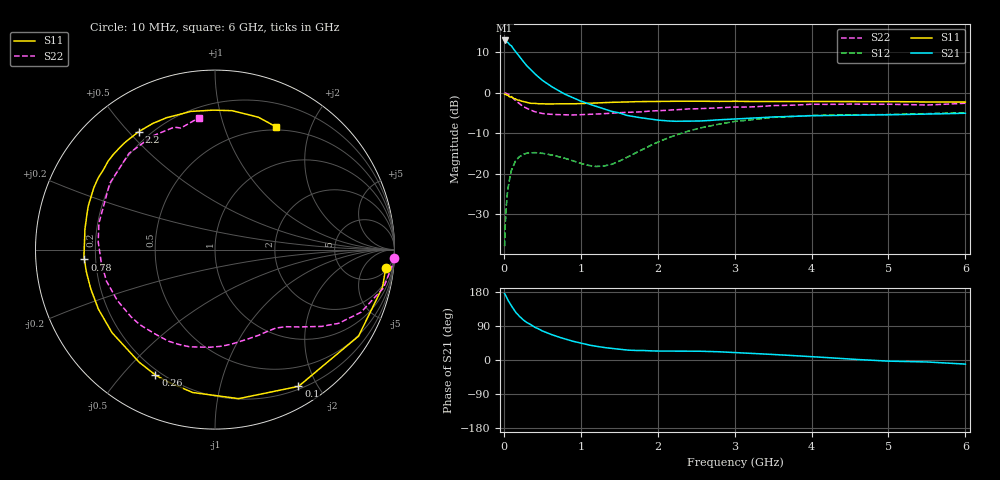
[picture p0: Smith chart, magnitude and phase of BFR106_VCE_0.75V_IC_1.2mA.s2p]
! Infineon Technologies  Discrete & RF Semiconductors
! BFR106
! VCE = 0.75 V,  IC =  1.2 mA
! Common Emitter S-Parameters:  Nov 2015
# GHz  S  MA  R  50
!  f  S11  S21  S12  S22
! GHz  MAG  ANG  MAG  ANG  MAG  ANG  MAG  ANG
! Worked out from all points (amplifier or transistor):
!   210 points, 10 MHz to 6 GHz, reference 50 ohm
!   highest |S21| = 12.9 dB at 10 MHz (marker M1)
!   |S21| within 3 dB of that: start of sweep to 163.5 MHz
!   unconditionally stable (mu >= 1): 815.5 MHz to end of sweep
!   at 185 MHz: K = 0.24, MSG = 12.7 dB, |S12| = -16.2 dB
!   at 1.52 GHz: K = 1.45, MAG = 1.8 dB, |S12| = -16.7 dB
!   at 6 GHz: K = 1.02, MAG = -1.0 dB, |S12| = -5.0 dB
!   S11 on the Smith chart (normalised r, x): 10 MHz: 6, -16; 100 MHz: 0.23, -1.76; 260 MHz: 0.18, -0.62; 780 MHz: 0.16, -0.04; 2.2 GHz: 0.16, +0.53; 6 GHz: 0.46, +1.52
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0.01  0.9566 -6.3  4.392 175.2  0.0128 87.6  0.9981 -2.6
0.02  0.9565 -12.6  4.358 171.8  0.0255 85.4  0.9904 -5.3
0.04  0.9305 -24.9  4.208 163.4  0.0497 73.9  0.9702 -10.3
0.05  0.9339 -31.1  4.169 159.0  0.0621 71.6  0.9629 -12.8
0.1  0.8928 -58.6  3.753 142.1  0.1111 57.0  0.8857 -23.2
0.15  0.8407 -81.0  3.23 126.7  0.1427 44.4  0.8017 -30.8
0.2  0.8058 -98.9  2.822 115.7  0.1618 35.9  0.7332 -35.7
0.26  0.7735 -115.4  2.376 104.7  0.1742 27.7  0.6661 -40.2
0.3  0.7567 -123.9  2.133 98.8  0.1795 24.0  0.6377 -42.5
0.4  0.7372 -141.1  1.713 86.7  0.1822 16.4  0.5825 -47.5
0.5  0.7294 -153.0  1.419 76.7  0.1788 11.7  0.5529 -52.3
0.6  0.726 -162.6  1.219 68.4  0.1723 8.6  0.5412 -57.4
0.78  0.7297 -175.7  0.973 56.4  0.1562 7.1  0.5318 -67.5
1.02  0.7341 170.1  0.774 43.7  0.1325 12.9  0.5353 -81.6
1.4  0.7585 152.6  0.588 30.6  0.1305 38.6  0.5599 -104.9
2.02  0.7796 128.8  0.456 23.7  0.2494 54.3  0.5996 -142.4
2.2  0.7827 122.9  0.443 23.4  0.2913 52.4  0.6136 -152.5
2.6  0.7828 110.1  0.448 23.0  0.3749 44.5  0.638 -174.0
3.1  0.779 98.1  0.477 18.8  0.4503 32.7  0.6629 163.2
4.1  0.7781 81.8  0.52 7.6  0.5241 12.8  0.7167 129.2
5.1  0.7736 70.8  0.535 -3.4  0.5394 -0.8  0.7159 107.9
6  0.764 63.4  0.557 -10.8  0.5649 -9.9  0.7396 97.0
